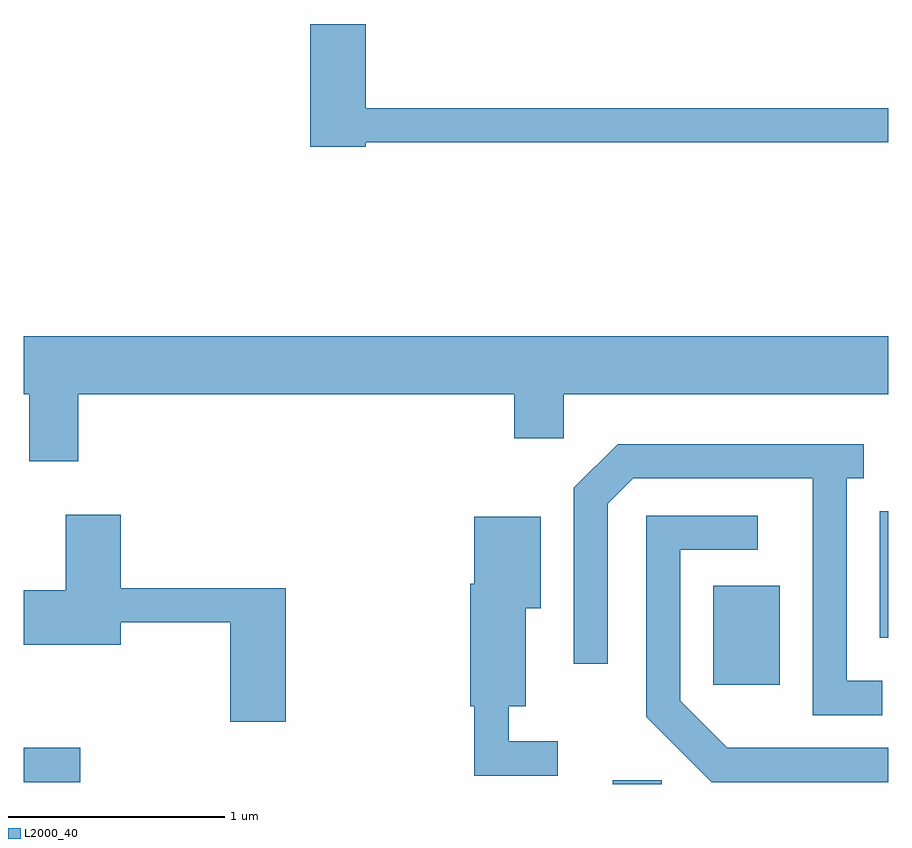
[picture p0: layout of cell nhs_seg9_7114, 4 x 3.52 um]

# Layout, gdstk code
import gdstk
lib = gdstk.Library(unit=1e-6, precision=1e-09)
def R(c, l, rs):  # rectangles x0, y0, x1, y1
    for r in rs: c.add(gdstk.rectangle(r[:2], r[2:], *l))
def P(c, l, *ps):  # polygons
    for p in ps: c.add(gdstk.Polygon(p, *l))
L2000_40 = (2000, 40)

nhs_seg9_7114 = lib.new_cell('nhs_seg9_7114')
R(nhs_seg9_7114, L2000_40, [(398.336,2014.432,398.564,2014.449), (395.611,2014.441,395.873,2014.599), (398.801,2014.891,399.109,2015.349), (399.571,2015.108,399.611,2015.694)])
P(nhs_seg9_7114, L2000_40, [(397.194,2017.401),(399.611,2017.401),(399.611,2017.559),(397.194,2017.559),(397.194,2017.949),(396.936,2017.949),(396.936,2017.381),(397.194,2017.381)],
  [(395.864,2016.236),(397.881,2016.236),(397.881,2016.031),(398.109,2016.031),(398.109,2016.236),(399.611,2016.236),(399.611,2016.504),(395.611,2016.504),(395.611,2016.236),(395.636,2016.236),(395.636,2015.926),(395.864,2015.926)],
  [(399.583,2014.909),(399.419,2014.909),(399.419,2015.846),(399.498,2015.846),(399.498,2016.004),(398.359,2016.004),(398.156,2015.802),(398.156,2014.988),(398.314,2014.988),(398.314,2015.729),(398.432,2015.846),(399.261,2015.846),(399.261,2014.751),(399.583,2014.751)],
  [(396.824,2015.339),(396.059,2015.339),(396.059,2015.679),(395.806,2015.679),(395.806,2015.329),(395.611,2015.329),(395.611,2015.076),(396.059,2015.076),(396.059,2015.181),(396.566,2015.181),(396.566,2014.721),(396.824,2014.721)],
  [(399.611,2014.599),(398.867,2014.599),(398.649,2014.817),(398.649,2015.516),(399.008,2015.516),(399.008,2015.674),(398.491,2015.674),(398.491,2014.744),(398.794,2014.441),(399.611,2014.441)],
  [(398.083,2014.629),(397.854,2014.629),(397.854,2014.791),(397.934,2014.791),(397.934,2015.246),(398.004,2015.246),(398.004,2015.669),(397.696,2015.669),(397.696,2015.359),(397.676,2015.359),(397.676,2014.791),(397.696,2014.791),(397.696,2014.471),(398.083,2014.471)])

lib.write_gds('nhs_seg9_7114.gds')
